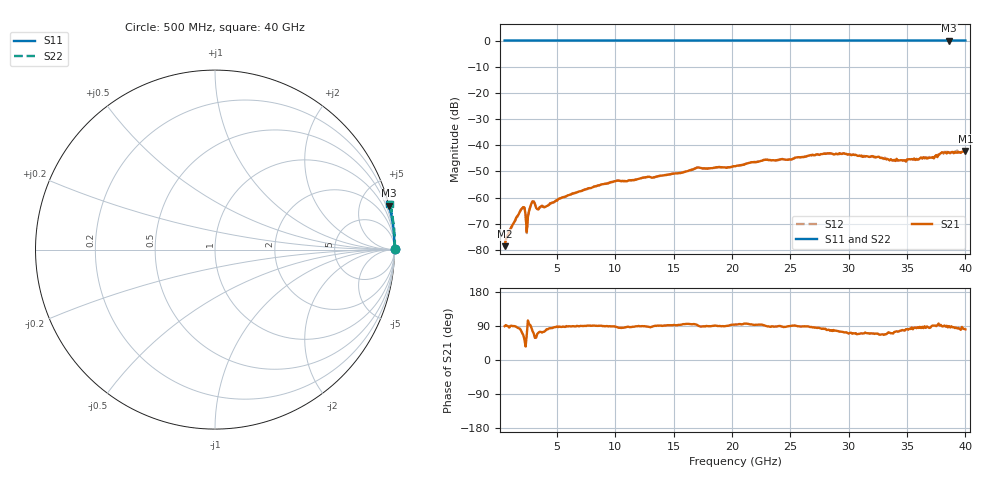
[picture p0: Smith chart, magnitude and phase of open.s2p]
!Keysight Technologies,N5247B,MY61255062,A.15.50.07
!Date: Wednesday, February 12, 2025 16:39:18
!Correction: S11(C  2-Port  )
!S21(C  2-Port  )
!S12(C  2-Port  )
!S22(C  2-Port  )
!S2P File: Measurements: S11, S21, S12, S22:
# Hz S  MA  R 50
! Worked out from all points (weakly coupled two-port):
!   396 points, 500 MHz to 40 GHz, reference 50 ohm
!   highest |S21| = -42.24 dB at 40 GHz (marker M1); lowest = -78.6 dB at 500 MHz (marker M2)
!   lowest |S11| = 0.0 dB at 38.6 GHz (marker M3)
!   |S11| at or under -10 dB: nowhere
!   |S22| runs from 0.0 to 0.1 dB; largest |S21 - S12| = 0.00092
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5e8  1 0.2  0.0001175 89.3  0.000123 89.8  1.001 0.2
7e8  1 0.3  0.0001825 90.2  0.0001787 86.5  1.001 0.3
2.1e9  1 0.8  0.0006546 65.7  0.0006492 65.7  1.002 0.8
2.2e9  1.001 0.8  0.0006446 54.5  0.000625 55.8  1.002 0.9
2.3e9  1.001 0.9  0.0004655 35.4  0.0004798 37.7  1.002 0.9
2.4e9  1.001 0.9  0.0002201 67.3  0.0002089 67.0  1.002 1.0
2.5e9  1 0.9  0.0004283 104.3  0.000435 103.5  1.002 1.0
2.9e9  1.001 1.1  0.0008412 76.1  0.0008466 75.0  1.002 1.2
3.3e9  1 1.2  0.0005998 68.9  0.0005841 70.9  1.002 1.3
7.1e9  1.001 2.7  0.001335 89.7  0.001334 89.8  1.003 2.7
1.01e10  1.001 3.8  0.002093 86.9  0.002098 86.7  1.004 3.9
1.37e10  1.001 5.1  0.002562 90.6  0.002569 91.5  1.004 5.2
1.71e10  1.002 6.4  0.00376 90.4  0.003757 91.1  1.005 6.5
2.03e10  1.002 7.6  0.003965 93.9  0.003976 93.4  1.004 7.6
2.69e10  1.002 10.0  0.006556 85.8  0.006473 87.1  1.006 10.1
2.97e10  1.001 11.0  0.006792 72.8  0.006896 72.1  1.005 11.0
3.31e10  1.001 12.2  0.005469 68.0  0.005783 68.9  1.006 12.3
3.35e10  1.001 12.3  0.005113 72.2  0.005002 71.6  1.007 12.4
3.73e10  1 13.8  0.005583 90.9  0.005858 92.4  1.005 13.8
3.8e10  1 14.0  0.007331 88.9  0.006766 89.8  1.007 14.1
3.86e10  0.9986 14.2  0.007254 89.6  0.00725 88.1  1.007 14.3
4e10  1.002 14.7  0.007729 80.8  0.007776 85.7  1.007 14.7
